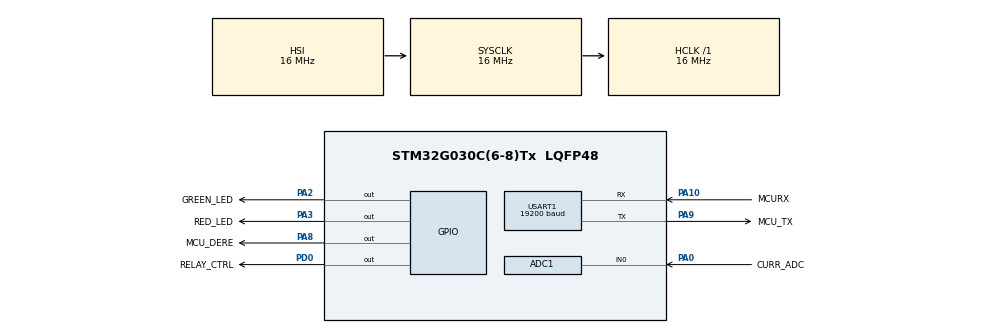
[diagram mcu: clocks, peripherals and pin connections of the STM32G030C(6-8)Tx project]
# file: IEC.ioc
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ADC1.Channel-0\#ChannelRegularConversion=ADC_CHANNEL_0
ADC1.NbrOfConversionFlag=1
ADC1.Rank-0\#ChannelRegularConversion=1
ADC1.SamplingTime-0\#ChannelRegularConversion=ADC_SAMPLINGTIME_COMMON_1
ADC1.SelectedChannel=ADC_CHANNEL_0
ADC1.master=1
Mcu.Family=STM32G0
Mcu.Name=STM32G030C(6-8)Tx
Mcu.Package=LQFP48
NVIC.USART1_IRQn=true\:0\:0\:false\:false\:true\:true\:true\:true
PA0.GPIO_Label=CURR_ADC
PA0.Mode=IN0
PA0.Signal=ADC1_IN0
PA10.GPIO_Label=MCURX
PA10.Mode=Asynchronous
PA10.Signal=USART1_RX
PA2.GPIO_Label=GREEN_LED
PA2.Signal=GPIO_Output
PA3.GPIO_Label=RED_LED
PA3.Signal=GPIO_Output
PA8.GPIO_Label=MCU_DERE
PA8.Signal=GPIO_Output
PA9.GPIO_Label=MCU_TX
PA9.Mode=Asynchronous
PA9.Signal=USART1_TX
PD0.GPIO_Label=RELAY_CTRL
PD0.Signal=GPIO_Output
ProjectManager.HeapSize=0x200
ProjectManager.StackSize=0x400
ProjectManager.TargetToolchain=STM32CubeIDE
RCC.AHBFreq_Value=16000000
RCC.CortexFreq_Value=16000000
RCC.EXTERNAL_CLOCK_VALUE=12288000
RCC.HCLKFreq_Value=16000000
RCC.HSE_VALUE=8000000
RCC.HSI_VALUE=16000000
RCC.LSE_VALUE=32768
RCC.SYSCLKFreq_VALUE=16000000
RCC.VCOOutputFreq_Value=128000000
USART1.BaudRate=19200
USART1.VirtualMode-Asynchronous=VM_ASYNC
USART1.VirtualMode-Hardware\ Flow\ Control\ (RS485)=VM_ASYNC
board=custom

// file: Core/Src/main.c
/* USER CODE BEGIN Header */
/**
  ******************************************************************************
  * @file           : main.c
  * @brief          : Main program body
  ******************************************************************************
  * @attention
  *
  * Copyright (c) 2024 STMicroelectronics.
  * All rights reserved.
  *
  * This software is licensed under terms that can be found in the LICENSE file
  * in the root directory of this software component.
  * If no LICENSE file comes with this software, it is provided AS-IS.
  *
  ******************************************************************************
  */
/* USER CODE END Header */
#include "main.h"

/* USER CODE BEGIN Includes */
#include "modbusSlave.h"
#include "IECData.h"
#include "config_params.h"
#include "stm32g0xx_hal.h"
#include <string.h>

/* USER CODE END Includes */

/* USER CODE BEGIN PM */

#define SETTINGS_FLASH_ADDR 0x0800E000

/* USER CODE END PM */

ADC_HandleTypeDef hadc1;

UART_HandleTypeDef huart1;

void SystemClock_Config(void);
static void MX_GPIO_Init(void);
static void MX_ADC1_Init(void);
static void MX_USART1_UART_Init(void);

/* USER CODE BEGIN 0 */

uint8_t RxData[256];
uint8_t TxData[256];

uint8_t MODBUS_ID = 1;

uint8_t prevRelayState;
uint8_t prevCustCurrWarningLimit;
uint8_t prevCustCurrErrorLimit;

float actualCurrent;

typedef struct {
    int   meas_avg_num;
    float custcurr_warning_limit;
    float custcurr_error_limit;
    float overcurrent_treshold;
} AppSettings_t;

AppSettings_t IECSettings;
uint8_t UpdateDataReceived = 0;

void HAL_UARTEx_RxEventCallback(UART_HandleTypeDef *huart, uint16_t Size)
{
	if (RxData[0] == Config_Params->MODBUS_ID)
	{
		switch (RxData[1]){
		case 0x03:
			readHoldingRegs();
			break;
		case 0x04:
			readInputRegs();
			break;
		case 0x01:
			readCoils();
			break;
		case 0x02:
			readInputs();
			break;
		case 0x06:
			writeSingleReg();
			break;
		case 0x10:
			writeHoldingRegs();
			UpdateDataReceived = 1;
			break;
		case 0x05:
			writeSingleCoil();
			break;
		case 0x0F:
			writeMultiCoils();
			break;
		default:
			modbusException(ILLEGAL_FUNCTION);
			break;
		}
	}
	HAL_UARTEx_ReceiveToIdle_IT(&huart1, RxData, 256);
}

HAL_StatusTypeDef Flash_SaveSettings(AppSettings_t *settings)
{
    HAL_StatusTypeDef status;

    HAL_FLASH_Unlock();

    FLASH_EraseInitTypeDef erase;
    uint32_t pageError;

    erase.TypeErase = FLASH_TYPEERASE_PAGES;
    erase.Page      = (SETTINGS_FLASH_ADDR - FLASH_BASE) / FLASH_PAGE_SIZE;
    erase.NbPages   = 1;

    status = HAL_FLASHEx_Erase(&erase, &pageError);
    if(status != HAL_OK)
    {
        HAL_FLASH_Lock();
        return status;
    }

    uint64_t *data = (uint64_t*)settings;
    uint32_t address = SETTINGS_FLASH_ADDR;

    for(int i = 0; i < sizeof(AppSettings_t)/8; i++)
    {
        status = HAL_FLASH_Program(FLASH_TYPEPROGRAM_DOUBLEWORD, address, data[i]);
        if(status != HAL_OK)
        {
            HAL_FLASH_Lock();
            return status;
        }

        address += 8;
    }

    HAL_FLASH_Lock();

    return HAL_OK;
}

void Flash_LoadSettings(AppSettings_t *settings)
{
    memcpy(settings, (void*)SETTINGS_FLASH_ADDR, sizeof(AppSettings_t));
}

/* USER CODE END 0 */

int main(void)
{

  /* MCU Configuration--------------------------------------------------------*/

  /* Reset of all peripherals, Initializes the Flash interface and the Systick. */
  HAL_Init();

  /* Configure the system clock */
  SystemClock_Config();

  /* Initialize all configured peripherals */
  MX_GPIO_Init();
  MX_ADC1_Init();
  MX_USART1_UART_Init();
  /* USER CODE BEGIN 2 */
  HAL_UARTEx_ReceiveToIdle_IT(&huart1, RxData, 256);
  HAL_GPIO_WritePin(GREEN_LED_GPIO_Port, GREEN_LED_Pin, GPIO_PIN_RESET);
  HAL_GPIO_WritePin(RED_LED_GPIO_Port, RED_LED_Pin, GPIO_PIN_RESET);
  prevRelayState = 0;
  HAL_GPIO_WritePin(RELAY_CTRL_GPIO_Port, RELAY_CTRL_Pin, prevRelayState);
  Coils_Database[RELAY_STATE_ADDR] = prevRelayState;

  Coils_Database[IS_RMS_VOLTAGE_MEASURED_ADDR] = Config_Params->IS_RMS_VOLTAGE_MEASURED;
  Coils_Database[IS_RMS_CURRENT_MEASURED_ADDR] = Config_Params->IS_RMS_CURRENT_MEASURED;

  Coils_Database[IS_ACTIVE_POWER_MEASURED_ADDR] = Config_Params->IS_ACTIVE_POWER_MEASURED;
  Coils_Database[IS_REACTIVE_POWER_MEASURED_ADDR] = Config_Params->IS_REACTIVE_POWER_MEASURED;
  Coils_Database[IS_APPARENT_POWER_MEASURED_ADDR] = Config_Params->IS_APPARENT_POWER_MEASURED;
  Coils_Database[IS_POWER_FACTOR_MEASURED_ADDR] = Config_Params->IS_POWER_FACTOR_MEASURED;
  Coils_Database[IS_AC_FREQUENCY_MEASURED_ADDR] = Config_Params->IS_AC_FREQUENCY_MEASURED;

  Input_Registers_Database[ID_ADDR] = Config_Params->ID;
  Input_Registers_Database[VERSION_ADDR] = Config_Params->VERSION;
  Input_Registers_Database[AVAILABLE_LEDS_ADDR] = Config_Params->AVAILABLE_LEDS;

  Input_Registers_Database[CURRENT_LIMIT_ADDR] = Config_Params->CURRENT_LIMIT;
  Input_Registers_Database[RELAY_COUNT_ADDR] = Config_Params->RELAY_COUNT;
  MODBUS_ID = Config_Params->MODBUS_ID;

   addFloatToRegister(Holding_Registers_Database, MEAS_AVG_NUM_ADDR, 10.0);
   addFloatToRegister(Holding_Registers_Database, CUSTCURR_WARNING_LIMIT_ADDR, (float)Config_Params->CURRENT_LIMIT);
   addFloatToRegister(Holding_Registers_Database, CUSTCURR_ERROR_LIMIT_ADDR, (float)Config_Params->CURRENT_LIMIT);
   addFloatToRegister(Holding_Registers_Database, OC_TRESHOLD_ADDR, (float)Config_Params->CURRENT_LIMIT);

   Flash_LoadSettings(&IECSettings);

   if (IECSettings.meas_avg_num == 0xFFFFFFFF) {
	   float currLim = (float)Config_Params->CURRENT_LIMIT;
	   IECSettings.meas_avg_num = 10.0;
	   IECSettings.custcurr_warning_limit = currLim;
	   IECSettings.custcurr_error_limit = currLim;
	   IECSettings.overcurrent_treshold = currLim;
	   Flash_SaveSettings(&IECSettings);
   }
  /* USER CODE END 2 */

  /* Infinite loop */
  /* USER CODE BEGIN WHILE */
  while (1)
  {
	  if (UpdateDataReceived) {
				  IECSettings.meas_avg_num = Holding_Registers_Database[MEAS_AVG_NUM_ADDR];
				  IECSettings.custcurr_warning_limit = Holding_Registers_Database[CUSTCURR_WARNING_LIMIT_ADDR];
				  IECSettings.custcurr_error_limit = Holding_Registers_Database[CUSTCURR_ERROR_LIMIT_ADDR];
				  IECSettings.overcurrent_treshold = Holding_Registers_Database[OC_TRESHOLD_ADDR];
				  //Flash_SaveSettings(&IECSettings);
	             UpdateDataReceived = 0;
	         }
		readCurrentData(&hadc1);
		readVoltageData();
		readPowerData(&hadc1);
		setRelayStatus_auto();
    /* USER CODE END WHILE */

  }
}

void SystemClock_Config(void)
{
  RCC_OscInitTypeDef RCC_OscInitStruct = {0};
  RCC_ClkInitTypeDef RCC_ClkInitStruct = {0};

  /** Configure the main internal regulator output voltage
  */
  HAL_PWREx_ControlVoltageScaling(PWR_REGULATOR_VOLTAGE_SCALE1);

  /** Initializes the RCC Oscillators according to the specified parameters
  * in the RCC_OscInitTypeDef structure.
  */
  RCC_OscInitStruct.OscillatorType = RCC_OSCILLATORTYPE_HSI;
  RCC_OscInitStruct.HSIState = RCC_HSI_ON;
  RCC_OscInitStruct.HSIDiv = RCC_HSI_DIV1;
  RCC_OscInitStruct.HSICalibrationValue = RCC_HSICALIBRATION_DEFAULT;
  RCC_OscInitStruct.PLL.PLLState = RCC_PLL_NONE;
  if (HAL_RCC_OscConfig(&RCC_OscInitStruct) != HAL_OK)
  {
    Error_Handler();
  }

  /** Initializes the CPU, AHB and APB buses clocks
  */
  RCC_ClkInitStruct.ClockType = RCC_CLOCKTYPE_HCLK|RCC_CLOCKTYPE_SYSCLK
                              |RCC_CLOCKTYPE_PCLK1;
  RCC_ClkInitStruct.SYSCLKSource = RCC_SYSCLKSOURCE_HSI;
  RCC_ClkInitStruct.AHBCLKDivider = RCC_SYSCLK_DIV1;
  RCC_ClkInitStruct.APB1CLKDivider = RCC_HCLK_DIV1;

  if (HAL_RCC_ClockConfig(&RCC_ClkInitStruct, FLASH_LATENCY_0) != HAL_OK)
  {
    Error_Handler();
  }
}

static void MX_ADC1_Init(void)
{

  ADC_ChannelConfTypeDef sConfig = {0};

  /** Configure the global features of the ADC (Clock, Resolution, Data Alignment and number of conversion)
  */
  hadc1.Instance = ADC1;
  hadc1.Init.ClockPrescaler = ADC_CLOCK_SYNC_PCLK_DIV2;
  hadc1.Init.Resolution = ADC_RESOLUTION_12B;
  hadc1.Init.DataAlign = ADC_DATAALIGN_RIGHT;
  hadc1.Init.ScanConvMode = ADC_SCAN_DISABLE;
  hadc1.Init.EOCSelection = ADC_EOC_SINGLE_CONV;
  hadc1.Init.LowPowerAutoWait = DISABLE;
  hadc1.Init.LowPowerAutoPowerOff = DISABLE;
  hadc1.Init.ContinuousConvMode = DISABLE;
  hadc1.Init.NbrOfConversion = 1;
  hadc1.Init.DiscontinuousConvMode = DISABLE;
  hadc1.Init.ExternalTrigConv = ADC_SOFTWARE_START;
  hadc1.Init.ExternalTrigConvEdge = ADC_EXTERNALTRIGCONVEDGE_NONE;
  hadc1.Init.DMAContinuousRequests = DISABLE;
  hadc1.Init.Overrun = ADC_OVR_DATA_PRESERVED;
  hadc1.Init.SamplingTimeCommon1 = ADC_SAMPLETIME_1CYCLE_5;
  hadc1.Init.SamplingTimeCommon2 = ADC_SAMPLETIME_1CYCLE_5;
  hadc1.Init.OversamplingMode = DISABLE;
  hadc1.Init.TriggerFrequencyMode = ADC_TRIGGER_FREQ_HIGH;
  if (HAL_ADC_Init(&hadc1) != HAL_OK)
  {
    Error_Handler();
  }

  /** Configure Regular Channel
  */
  sConfig.Channel = ADC_CHANNEL_0;
  sConfig.Rank = ADC_REGULAR_RANK_1;
  sConfig.SamplingTime = ADC_SAMPLINGTIME_COMMON_1;
  if (HAL_ADC_ConfigChannel(&hadc1, &sConfig) != HAL_OK)
  {
    Error_Handler();
  }

}

static void MX_USART1_UART_Init(void)
{

  huart1.Instance = USART1;
  huart1.Init.BaudRate = 19200;
  huart1.Init.WordLength = UART_WORDLENGTH_8B;
  huart1.Init.StopBits = UART_STOPBITS_1;
  huart1.Init.Parity = UART_PARITY_NONE;
  huart1.Init.Mode = UART_MODE_TX_RX;
  huart1.Init.HwFlowCtl = UART_HWCONTROL_NONE;
  huart1.Init.OverSampling = UART_OVERSAMPLING_16;
  huart1.Init.OneBitSampling = UART_ONE_BIT_SAMPLE_DISABLE;
  huart1.Init.ClockPrescaler = UART_PRESCALER_DIV1;
  huart1.AdvancedInit.AdvFeatureInit = UART_ADVFEATURE_NO_INIT;
  if (HAL_UART_Init(&huart1) != HAL_OK)
  {
    Error_Handler();
  }
  if (HAL_UARTEx_SetTxFifoThreshold(&huart1, UART_TXFIFO_THRESHOLD_1_8) != HAL_OK)
  {
    Error_Handler();
  }
  if (HAL_UARTEx_SetRxFifoThreshold(&huart1, UART_RXFIFO_THRESHOLD_1_8) != HAL_OK)
  {
    Error_Handler();
  }
  if (HAL_UARTEx_DisableFifoMode(&huart1) != HAL_OK)
  {
    Error_Handler();
  }

}

static void MX_GPIO_Init(void)
{
  GPIO_InitTypeDef GPIO_InitStruct = {0};

  /* GPIO Ports Clock Enable */
  __HAL_RCC_GPIOA_CLK_ENABLE();
  __HAL_RCC_GPIOD_CLK_ENABLE();

  /*Configure GPIO pin Output Level */
  HAL_GPIO_WritePin(GPIOA, GREEN_LED_Pin|RED_LED_Pin|MCU_DERE_Pin, GPIO_PIN_RESET);

  /*Configure GPIO pin Output Level */
  HAL_GPIO_WritePin(RELAY_CTRL_GPIO_Port, RELAY_CTRL_Pin, GPIO_PIN_RESET);

  /*Configure GPIO pins : GREEN_LED_Pin RED_LED_Pin MCU_DERE_Pin */
  GPIO_InitStruct.Pin = GREEN_LED_Pin|RED_LED_Pin|MCU_DERE_Pin;
  GPIO_InitStruct.Mode = GPIO_MODE_OUTPUT_PP;
  GPIO_InitStruct.Pull = GPIO_NOPULL;
  GPIO_InitStruct.Speed = GPIO_SPEED_FREQ_LOW;
  HAL_GPIO_Init(GPIOA, &GPIO_InitStruct);

  /*Configure GPIO pin : RELAY_CTRL_Pin */
  GPIO_InitStruct.Pin = RELAY_CTRL_Pin;
  GPIO_InitStruct.Mode = GPIO_MODE_OUTPUT_PP;
  GPIO_InitStruct.Pull = GPIO_NOPULL;
  GPIO_InitStruct.Speed = GPIO_SPEED_FREQ_LOW;
  HAL_GPIO_Init(RELAY_CTRL_GPIO_Port, &GPIO_InitStruct);

}

void Error_Handler(void)
{
  __disable_irq();
  while (1)
  {
  }
}
